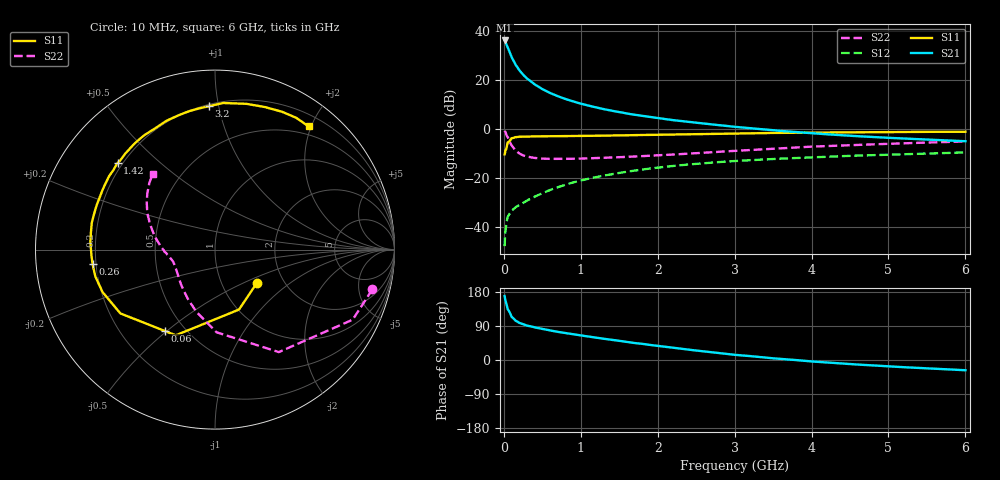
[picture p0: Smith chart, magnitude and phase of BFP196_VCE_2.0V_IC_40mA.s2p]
! Infineon Technologies  Discrete & RF Semiconductors
! BFP196
! VCE = 2.0 V,  IC =  40mA
! Common Emitter S-Parameters:  Jan 2016
# GHz  S  MA  R  50
!  f  S11  S21  S12  S22
! GHz  MAG  ANG  MAG  ANG  MAG  ANG  MAG  ANG
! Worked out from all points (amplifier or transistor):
!   210 points, 10 MHz to 6 GHz, reference 50 ohm
!   highest |S21| = 36.0 dB at 10 MHz (marker M1)
!   |S21| within 3 dB of that: start of sweep to 52.56 MHz
!   unconditionally stable (mu >= 1): 466 MHz to 4.78 GHz
!   at 185 MHz: K = 0.68, MSG = 28.0 dB, |S12| = -31.5 dB
!   at 1.52 GHz: K = 1.09, MAG = 10.5 dB, |S12| = -18.0 dB
!   at 6 GHz: K = 0.99, MSG = 2.3 dB, |S12| = -9.7 dB
!   S11 on the Smith chart (normalised r, x): 10 MHz: 1.45, -0.60; 60 MHz: 0.39, -0.49; 260 MHz: 0.19, -0.05; 1.42 GHz: 0.18, +0.37; 3.2 GHz: 0.21, +0.93; 6 GHz: 0.37, +1.96
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0.01  0.2985 -39.2  62.95 168.9  0.004 79.3  0.9046 -14.2
0.02  0.3598 -68.2  59.19 157.4  0.008 70.9  0.8606 -27.0
0.05  0.5251 -114.6  45.51 133.9  0.0159 55.4  0.6727 -58.1
0.06  0.5328 -121.7  41.87 131.2  0.0169 53.4  0.6191 -62.5
0.1  0.6359 -146.0  28.84 113.9  0.0209 47.3  0.4609 -88.9
0.125  0.6484 -152.8  24.51 109.8  0.0228 47.0  0.4067 -96.7
0.15  0.6697 -159.3  20.35 104.1  0.0247 46.7  0.3622 -106.6
0.155  0.6704 -160.1  19.87 103.6  0.025 46.9  0.3566 -107.7
0.2  0.683 -167.2  15.65 98.1  0.0275 48.7  0.313 -119.0
0.26  0.6868 -173.5  12.17 93.4  0.0311 51.5  0.2815 -129.6
0.3  0.6887 -176.7  10.56 90.9  0.034 53.9  0.2699 -134.8
0.4  0.6954 176.8  7.994 86.0  0.0408 57.0  0.2525 -144.4
0.5  0.6982 171.9  6.397 82.0  0.0481 59.1  0.2445 -150.8
0.7  0.703 163.1  4.599 74.2  0.0637 60.8  0.2414 -158.5
1.02  0.71 151.5  3.175 64.3  0.0888 59.5  0.2452 -165.5
1.42  0.7254 138.4  2.291 52.9  0.1186 55.4  0.2578 -171.2
2.02  0.7494 120.9  1.622 36.8  0.1614 47.4  0.2867 -179.6
3.1  0.7951 94.4  1.055 12.1  0.2228 31.9  0.3585 164.3
3.2  0.7994 92.5  1.021 10.3  0.2271 30.5  0.366 162.7
4.1  0.8318 76.4  0.785 -5.1  0.2632 19.4  0.435 150.3
5.1  0.8549 63.0  0.639 -18.0  0.298 8.1  0.4958 139.1
6  0.8622 52.8  0.554 -27.0  0.3269 -1.9  0.547 129.4
